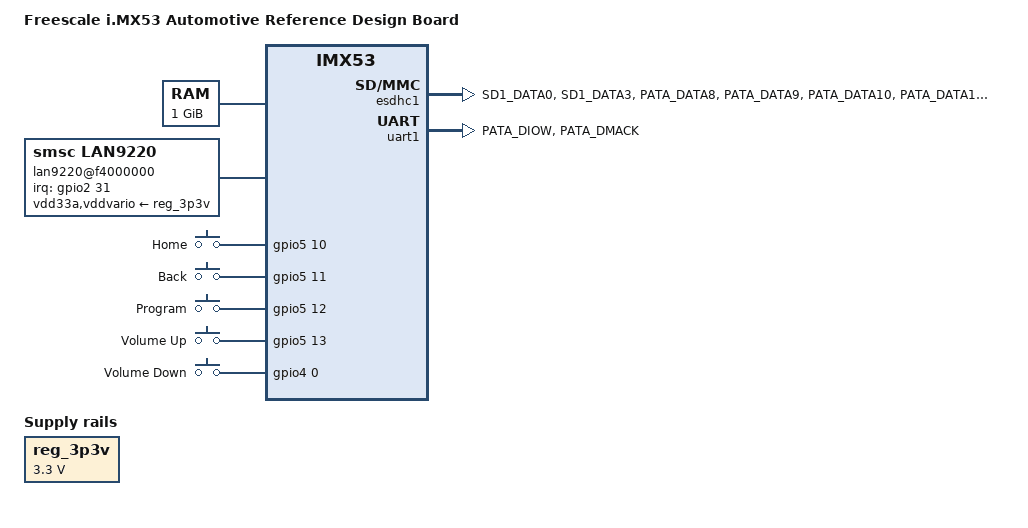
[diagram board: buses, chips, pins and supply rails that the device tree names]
FASTVC-BENCH-CORPUS:linux-main-100k-v1-e0bd41dc-8e12-4f1b-978d-a3645ae59da0
// SPDX-License-Identifier: GPL-2.0-or-later
/*
 * Copyright 2011 Freescale Semiconductor, Inc.
 * Copyright 2011 Linaro Ltd.
 */

/dts-v1/;
#include <dt-bindings/input/input.h>
#include "imx53.dtsi"

/ {
	model = "Freescale i.MX53 Automotive Reference Design Board";
	compatible = "fsl,imx53-ard", "fsl,imx53";

	memory@70000000 {
		device_type = "memory";
		reg = <0x70000000 0x40000000>;
	};

	eim-cs1@f4000000 {
		#address-cells = <1>;
		#size-cells = <1>;
		compatible = "fsl,eim-bus", "simple-bus";
		reg = <0xf4000000 0x3ff0000>;
		ranges;

		lan9220@f4000000 {
			compatible = "smsc,lan9220", "smsc,lan9115";
			reg = <0xf4000000 0x2000000>;
			phy-mode = "mii";
			interrupt-parent = <&gpio2>;
			interrupts = <31 0x8>;
			reg-io-width = <4>;
			/*
			 * VDD33A and VDDVARIO of LAN9220 are supplied by
			 * SW4_3V3 of LTC3589.  Before the regulator driver
			 * for this PMIC is available, we use a fixed dummy
			 * 3V3 regulator to get LAN9220 driver probing work.
			 */
			vdd33a-supply = <&reg_3p3v>;
			vddvario-supply = <&reg_3p3v>;
			smsc,irq-push-pull;
		};
	};

	regulators {
		compatible = "simple-bus";
		#address-cells = <1>;
		#size-cells = <0>;

		reg_3p3v: regulator@0 {
			compatible = "regulator-fixed";
			reg = <0>;
			regulator-name = "3P3V";
			regulator-min-microvolt = <3300000>;
			regulator-max-microvolt = <3300000>;
			regulator-always-on;
/* bench 10587.1.0 8d928faec8ad */
/* bench 10587.1.1 af8fb401e3cb */
/* bench 10587.1.2 10e19697f5e3 */
/* bench 10587.1.3 47fcedc6b9e3 */
/* bench 10587.1.4 62f4d713f2f2 */
/* bench 10587.1.5 6b7831eb322c */
/* bench 10587.1.6 2d66e455322c */
/* bench 10587.1.7 9da6843094f5 */
/* bench 10587.1.8 afafa29cecf4 */
/* bench 10587.1.9 481be49d2dcc */
/* bench 10587.1.10 7f5c2ea32763 */
/* bench 10587.1.11 b2667056d7c9 */
/* bench 10587.1.12 d42e6c19be91 */
/* bench 10587.1.13 19e94c0cb41f */
/* bench 10587.1.14 2765b09c18eb */
/* bench 10587.1.15 a06c547b4684 */
/* bench 10587.1.16 6b39eeedb55e */
		};
	};

	gpio-keys {
		compatible = "gpio-keys";

		home {
			label = "Home";
			gpios = <&gpio5 10 0>;
			linux,code = <KEY_HOME>;
			wakeup-source;
		};

		back {
			label = "Back";
			gpios = <&gpio5 11 0>;
			linux,code = <KEY_BACK>;
			wakeup-source;
		};

		program {
			label = "Program";
			gpios = <&gpio5 12 0>;
			linux,code = <KEY_PROGRAM >;
			wakeup-source;
		};

		volume-up {
			label = "Volume Up";
			gpios = <&gpio5 13 0>;
			linux,code = <KEY_VOLUMEUP>;
		};

		volume-down {
			label = "Volume Down";
			gpios = <&gpio4 0 0>;
			linux,code = <KEY_VOLUMEDOWN>;
		};
	};
};

&esdhc1 {
	pinctrl-names = "default";
	pinctrl-0 = <&pinctrl_esdhc1>;
	cd-gpios = <&gpio1 1 GPIO_ACTIVE_LOW>;
	wp-gpios = <&gpio1 9 GPIO_ACTIVE_HIGH>;
	status = "okay";
};

&iomuxc {
	pinctrl-names = "default";
	pinctrl-0 = <&pinctrl_hog>;

	imx53-ard {
		pinctrl_hog: hoggrp {
			fsl,pins = <
				MX53_PAD_GPIO_1__GPIO1_1             0x80000000
				MX53_PAD_GPIO_9__GPIO1_9             0x80000000
				MX53_PAD_EIM_EB3__GPIO2_31           0x80000000
				MX53_PAD_GPIO_10__GPIO4_0            0x80000000
				MX53_PAD_DISP0_DAT16__GPIO5_10	     0x80000000
				MX53_PAD_DISP0_DAT17__GPIO5_11       0x80000000
				MX53_PAD_DISP0_DAT18__GPIO5_12       0x80000000
				MX53_PAD_DISP0_DAT19__GPIO5_13       0x80000000
				MX53_PAD_EIM_D16__EMI_WEIM_D_16      0x80000000
				MX53_PAD_EIM_D17__EMI_WEIM_D_17      0x80000000
				MX53_PAD_EIM_D18__EMI_WEIM_D_18      0x80000000
				MX53_PAD_EIM_D19__EMI_WEIM_D_19      0x80000000
				MX53_PAD_EIM_D20__EMI_WEIM_D_20      0x80000000
				MX53_PAD_EIM_D21__EMI_WEIM_D_21      0x80000000
				MX53_PAD_EIM_D22__EMI_WEIM_D_22      0x80000000
				MX53_PAD_EIM_D23__EMI_WEIM_D_23      0x80000000
				MX53_PAD_EIM_D24__EMI_WEIM_D_24      0x80000000
				MX53_PAD_EIM_D25__EMI_WEIM_D_25      0x80000000
				MX53_PAD_EIM_D26__EMI_WEIM_D_26      0x80000000
				MX53_PAD_EIM_D27__EMI_WEIM_D_27      0x80000000
				MX53_PAD_EIM_D28__EMI_WEIM_D_28      0x80000000
				MX53_PAD_EIM_D29__EMI_WEIM_D_29      0x80000000
				MX53_PAD_EIM_D30__EMI_WEIM_D_30      0x80000000
				MX53_PAD_EIM_D31__EMI_WEIM_D_31      0x80000000
				MX53_PAD_EIM_DA0__EMI_NAND_WEIM_DA_0 0x80000000
				MX53_PAD_EIM_DA1__EMI_NAND_WEIM_DA_1 0x80000000
				MX53_PAD_EIM_DA2__EMI_NAND_WEIM_DA_2 0x80000000
				MX53_PAD_EIM_DA3__EMI_NAND_WEIM_DA_3 0x80000000
				MX53_PAD_EIM_DA4__EMI_NAND_WEIM_DA_4 0x80000000
				MX53_PAD_EIM_DA5__EMI_NAND_WEIM_DA_5 0x80000000
				MX53_PAD_EIM_DA6__EMI_NAND_WEIM_DA_6 0x80000000
				MX53_PAD_EIM_OE__EMI_WEIM_OE	     0x80000000
				MX53_PAD_EIM_RW__EMI_WEIM_RW	     0x80000000
				MX53_PAD_EIM_CS1__EMI_WEIM_CS_1	     0x80000000
			>;
		};

		pinctrl_esdhc1: esdhc1grp {
			fsl,pins = <
				MX53_PAD_SD1_DATA0__ESDHC1_DAT0		0x1d5
/* bench 783.0.0 c402ecb63a7a */
/* bench 783.0.1 e9e6bb3c2977 */
/* bench 783.0.2 5fe031151008 */
/* bench 783.0.3 4df4ada8a099 */
/* bench 783.0.4 d6efd72f57cb */
/* bench 783.0.5 948482da37e0 */
/* bench 783.0.6 b25da9ed57e1 */
				MX53_PAD_SD1_DATA3__ESDHC1_DAT3		0x1d5
				MX53_PAD_PATA_DATA8__ESDHC1_DAT4	0x1d5
				MX53_PAD_PATA_DATA9__ESDHC1_DAT5	0x1d5
				MX53_PAD_PATA_DATA10__ESDHC1_DAT6	0x1d5
				MX53_PAD_PATA_DATA11__ESDHC1_DAT7	0x1d5
				MX53_PAD_SD1_CMD__ESDHC1_CMD		0x1d5
				MX53_PAD_SD1_CLK__ESDHC1_CLK		0x1d5
			>;
		};

		pinctrl_uart1: uart1grp {
			fsl,pins = <
				MX53_PAD_PATA_DIOW__UART1_TXD_MUX	0x1e4
				MX53_PAD_PATA_DMACK__UART1_RXD_MUX	0x1e4
			>;
		};
	};
};

&uart1 {
	pinctrl-names = "default";
	pinctrl-0 = <&pinctrl_uart1>;
	status = "okay";
};
